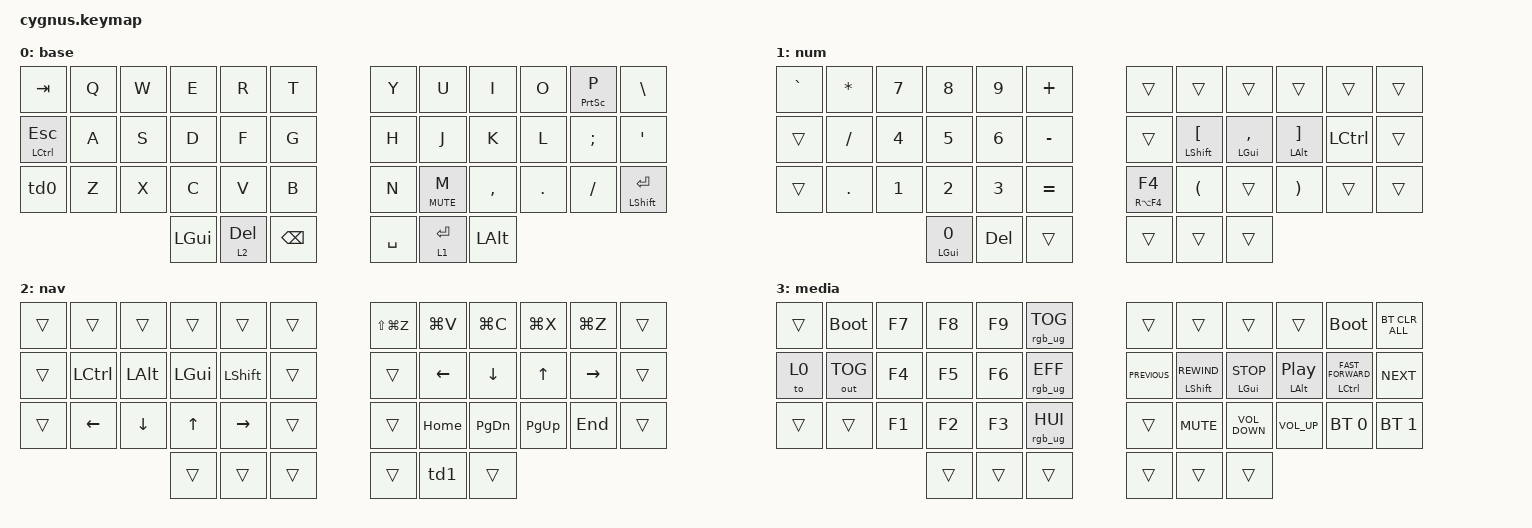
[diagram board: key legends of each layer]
/*
 * Copyright (c) 2020 The ZMK Contributors
 *
 * SPDX-License-Identifier: MIT
 */
#include <dt-bindings/zmk/mouse.h>
#include <behaviors.dtsi>
#include <dt-bindings/zmk/bt.h>
#include <dt-bindings/zmk/keys.h>
#include <dt-bindings/zmk/outputs.h>

&mt {
    tapping-term-ms = <200>;
    flavor = "tap-preferred";
};

&sk {
    release-after-ms = <2000>;
    quick-release;
};

/ {
    combos {
        compatible = "zmk,combos";

        left_bkt {
            bindings = <&kp LBKT>;
            key-positions = <3 2>;
            timeout-ms = <50>;
        };

        right_bkt {
            bindings = <&kp RBKT>;
            key-positions = <6 7>;
            timeout-ms = <50>;
        };

        left_par {
            bindings = <&kp LEFT_PARENTHESIS>;
            key-positions = <12 13>;
            timeout-ms = <50>;
        };

        right_par {
            bindings = <&kp RIGHT_PARENTHESIS>;
            key-positions = <16 17>;
            timeout-ms = <50>;
        };

        left_brace {
            bindings = <&kp LEFT_BRACE>;
            key-positions = <23 22>;
            timeout-ms = <50>;
        };

        right_brace {
            bindings = <&kp RIGHT_BRACE>;
            key-positions = <26 27>;
            timeout-ms = <50>;
        };

        bac {
            bindings = <&kp BACKSLASH>;
            key-positions = <4 5>;
        };

        pipe {
            bindings = <&kp PIPE>;
            key-positions = <14 15>;
        };
    };

    behaviors {
        hm: homerow_mods {
            compatible = "zmk,behavior-hold-tap";
            label = "HOMEROW_MODS";
            #binding-cells = <2>;
            tapping-term-ms = <200>;
            quick_tap_ms = <0>;
            flavor = "tap-preferred";
            bindings = <&kp>, <&kp>;

            quick-tap-ms = <180>;
            global-quick-tap;
        };

        ltq: ltq {
            compatible = "zmk,behavior-hold-tap";
            label = "LTQ";
            #binding-cells = <2>;
            tapping-term-ms = <200>;
            quick_tap_ms = <0>;
            flavor = "hold-preferred";
            bindings = <&mo>, <&kp>;

            quick-tap-ms = <180>;
            global-quick-tap;
        };

        as: as {
            compatible = "zmk,behavior-hold-tap";
            label = "AUTO_SHIFT";
            bindings = <&kp>, <&kp>;

            #binding-cells = <2>;
            tapping-term-ms = <135>;
            quick-tap-ms = <0>;
            flavor = "tap-preferred";
        };

        td0: td0 {
            compatible = "zmk,behavior-tap-dance";
            label = "TD0";
            #binding-cells = <0>;
            bindings = <&kp LEFT_SHIFT>, <&kp CAPSLOCK>;
        };

        mth: mth {
            compatible = "zmk,behavior-hold-tap";
            label = "MTH";
            bindings = <&kp>, <&kp>;

            #binding-cells = <2>;
            tapping-term-ms = <200>;
            flavor = "hold-preferred";
        };

        td1: td1 {
            compatible = "zmk,behavior-tap-dance";
            label = "TD1";
            #binding-cells = <0>;
            bindings = <&lt 3 ENTER>, <&to 3>;
        };
    };

    keymap {
        compatible = "zmk,keymap";

        base {
            // -----------------------------------------------------------------------------------------
            // |  TAB |  Q  |  W  |  E  |  R  |  T  |   |  Y  |  U   |  I  |  O  |  P  | BKSP |
            // | CTRL |  A  |  S  |  D  |  F  |  G  |   |  H  |  J   |  K  |  L  |  ;  |  '   |
            // | SHFT |  Z  |  X  |  C  |  V  |  B  |   |  N  |  M   |  ,  |  .  |  /  | ESC  |
            //                    | GUI | LWR | SPC |   | ENT | RSE  | ALT |

            bindings = <
&kp TAB                  &kp Q  &kp W  &kp E     &kp R      &kp T            &kp Y      &kp U         &kp I         &kp O    &mt PRINTSCREEN P  &kp BSLH
&mt LEFT_CONTROL ESCAPE  &kp A  &kp S  &kp D     &kp F      &kp G            &kp H      &kp J         &kp K         &kp L    &kp SEMI           &kp SQT
&td0                     &kp Z  &kp X  &kp C     &kp V      &kp B            &kp N      &mt C_MUTE M  &kp COMMA     &kp DOT  &kp FSLH           &mth LEFT_SHIFT ENTER
                                       &kp LGUI  &lt 2 DEL  &kp BACKSPACE    &kp SPACE  &lt 1 ENTER   &kp LEFT_ALT
            >;
        };

        num {
            bindings = <
&kp GRAVE  &kp ASTERISK  &kp N7        &kp N8           &kp N9        &kp PLUS     &trans         &trans                       &trans              &trans                      &trans     &trans
&trans     &kp SLASH     &kp NUMBER_4  &kp N5           &kp NUMBER_6  &kp MINUS    &trans         &mt LEFT_SHIFT LEFT_BRACKET  &mt LEFT_GUI COMMA  &mt LEFT_ALT RIGHT_BRACKET  &kp LCTRL  &trans
&trans     &kp PERIOD    &kp NUMBER_1  &kp NUMBER_2     &kp NUMBER_3  &kp EQUAL    &mt RA(F4) F4  &kp LEFT_PARENTHESIS         &trans              &kp RIGHT_PARENTHESIS       &trans     &trans
                                       &mt LEFT_GUI N0  &kp DELETE    &trans       &trans         &trans                       &trans
            >;
        };

        nav {
            bindings = <
&trans  &trans     &trans        &trans        &trans          &trans    &kp LS(LG(Z))  &kp LG(V)  &kp LG(C)      &kp LG(X)     &kp LG(Z)  &trans
&trans  &kp LCTRL  &kp LEFT_ALT  &kp LEFT_GUI  &kp LEFT_SHIFT  &trans    &trans         &kp LEFT   &kp DOWN       &kp UP_ARROW  &kp RIGHT  &trans
&trans  &kp LEFT   &kp DOWN      &kp UP        &kp RIGHT       &trans    &trans         &kp HOME   &kp PAGE_DOWN  &kp PAGE_UP   &kp END    &trans
                                 &trans        &trans          &trans    &trans         &td1       &trans
            >;
        };

        media {
            bindings = <
&trans   &bootloader   &kp F7  &kp F8  &kp F9  &rgb_ug RGB_TOG    &trans          &trans     &trans  &trans       &bootloader               &bt BT_CLR_ALL
&to 0       &out OUT_TOG  &kp F4  &kp F5  &kp F6  &rgb_ug RGB_EFF    &kp C_PREVIOUS  &mt LEFT_SHIFT C_REWIND  &mt LEFT_GUI C_STOP   &mt LEFT_ALT C_PLAY_PAUSE  &mt LCTRL C_FAST_FORWARD  &kp C_NEXT
&trans      &trans        &kp F1  &kp F2  &kp F3  &rgb_ug RGB_HUI    &trans          &kp C_MUTE               &kp C_VOLUME_DOWN     &kp C_VOLUME_UP            &bt BT_SEL 0              &bt BT_SEL 1
                                  &trans  &trans  &trans             &trans          &trans                   &trans
            >;
        };
    };
};
